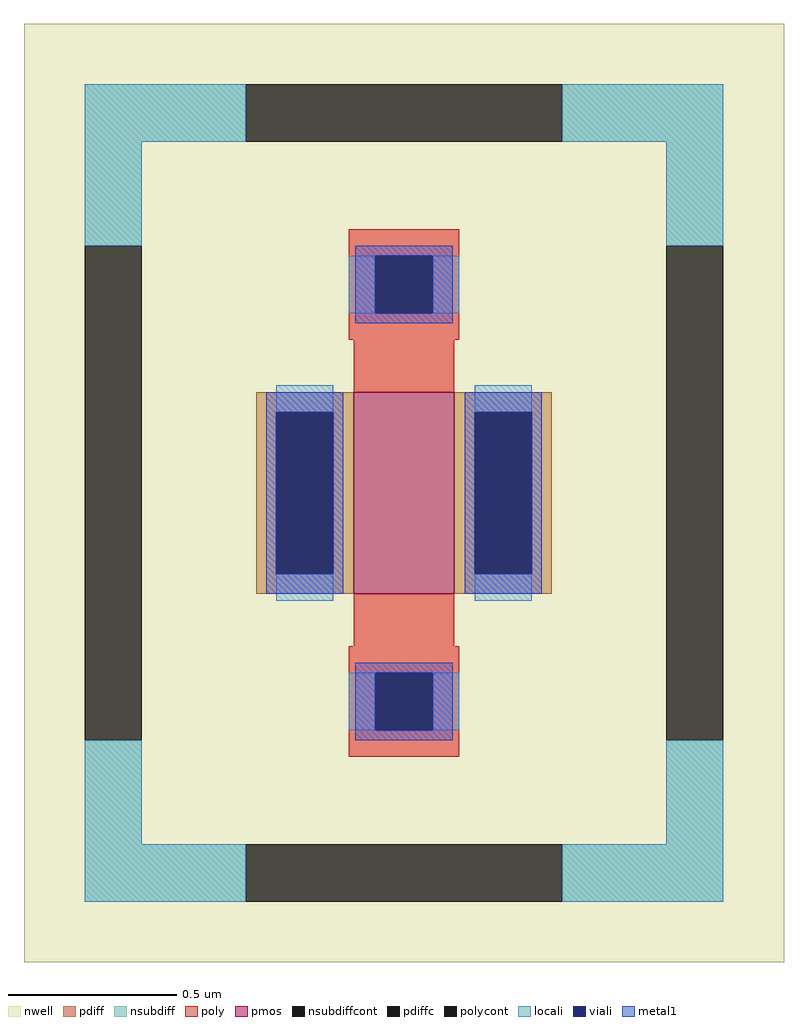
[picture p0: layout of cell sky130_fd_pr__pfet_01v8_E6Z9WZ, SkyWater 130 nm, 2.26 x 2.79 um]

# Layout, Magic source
magic
tech sky130A
magscale 1 2
<< nwell >>
rect -226 -279 226 279
<< pmos >>
rect -30 -60 30 60
<< pdiff >>
rect -88 48 -30 60
rect -88 -48 -76 48
rect -42 -48 -30 48
rect -88 -60 -30 -48
rect 30 48 88 60
rect 30 -48 42 48
rect 76 -48 88 48
rect 30 -60 88 -48
<< pdiffc >>
rect -76 -48 -42 48
rect 42 -48 76 48
<< nsubdiff >>
rect -190 209 -94 243
rect 94 209 190 243
rect -190 147 -156 209
rect 156 147 190 209
rect -190 -209 -156 -147
rect 156 -209 190 -147
rect -190 -243 -94 -209
rect 94 -243 190 -209
<< nsubdiffcont >>
rect -94 209 94 243
rect -190 -147 -156 147
rect 156 -147 190 147
rect -94 -243 94 -209
<< poly >>
rect -33 141 33 157
rect -33 107 -17 141
rect 17 107 33 141
rect -33 91 33 107
rect -30 60 30 91
rect -30 -91 30 -60
rect -33 -107 33 -91
rect -33 -141 -17 -107
rect 17 -141 33 -107
rect -33 -157 33 -141
<< polycont >>
rect -17 107 17 141
rect -17 -141 17 -107
<< locali >>
rect -190 209 -94 243
rect 94 209 190 243
rect -190 147 -156 209
rect 156 147 190 209
rect -33 107 -17 141
rect 17 107 33 141
rect -76 48 -42 64
rect -76 -64 -42 -48
rect 42 48 76 64
rect 42 -64 76 -48
rect -33 -141 -17 -107
rect 17 -141 33 -107
rect -190 -209 -156 -147
rect 156 -209 190 -147
rect -190 -243 -94 -209
rect 94 -243 190 -209
<< viali >>
rect -17 107 17 141
rect -76 -48 -42 48
rect 42 -48 76 48
rect -17 -141 17 -107
<< metal1 >>
rect -29 141 29 147
rect -29 107 -17 141
rect 17 107 29 141
rect -29 101 29 107
rect -82 48 -36 60
rect -82 -48 -76 48
rect -42 -48 -36 48
rect -82 -60 -36 -48
rect 36 48 82 60
rect 36 -48 42 48
rect 76 -48 82 48
rect 36 -60 82 -48
rect -29 -107 29 -101
rect -29 -141 -17 -107
rect 17 -141 29 -107
rect -29 -147 29 -141
<< properties >>
string FIXED_BBOX -173 -226 173 226
string gencell sky130_fd_pr__pfet_01v8
string library sky130
string parameters w 0.6 l 0.3 m 1 nf 1 diffcov 100 polycov 100 guard 1 glc 1 grc 1 gtc 1 gbc 1 tbcov 100 rlcov 100 topc 1 botc 1 poverlap 0 doverlap 1 lmin 0.15 wmin 0.42 compatible {sky130_fd_pr__pfet_01v8  sky130_fd_pr__pfet_01v8_lvt sky130_fd_pr__pfet_01v8_hvt  sky130_fd_pr__pfet_g5v0d10v5} full_metal 1 viasrc 100 viadrn 100 viagate 100 viagb 0 viagr 0 viagl 0 viagt 0
<< end >>
